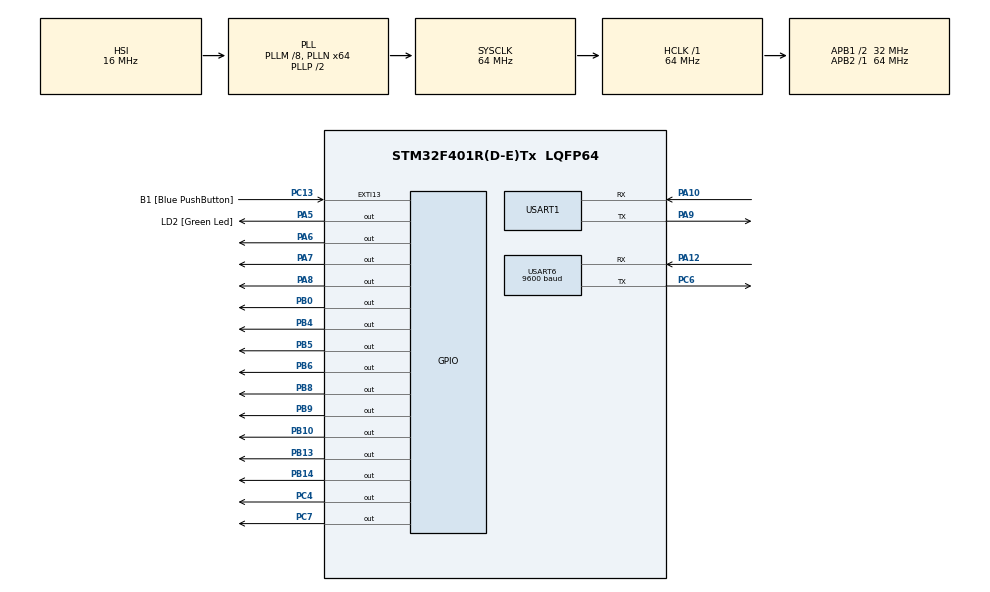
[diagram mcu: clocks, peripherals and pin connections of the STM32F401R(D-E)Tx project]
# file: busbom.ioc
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Mcu.Family=STM32F4
Mcu.Name=STM32F401R(D-E)Tx
Mcu.Package=LQFP64
NVIC.PriorityGroup=NVIC_PRIORITYGROUP_4
NVIC.TIM1_UP_TIM10_IRQn=true\:1\:0\:true\:false\:true\:true\:true\:true
NVIC.USART1_IRQn=true\:0\:0\:true\:false\:true\:true\:true\:true
PA10.Mode=Asynchronous
PA10.Signal=USART1_RX
PA12.Mode=Asynchronous
PA12.Signal=USART6_RX
PA13.GPIO_Label=TMS
PA13.Mode=Serial_Wire
PA13.Signal=SYS_JTMS-SWDIO
PA14.GPIO_Label=TCK
PA14.Mode=Serial_Wire
PA14.Signal=SYS_JTCK-SWCLK
PA5.GPIO_Label=LD2 [Green Led]
PA5.GPIO_Mode=GPIO_MODE_OUTPUT_PP
PA5.GPIO_PuPd=GPIO_NOPULL
PA5.GPIO_Speed=GPIO_SPEED_FREQ_LOW
PA5.Signal=GPIO_Output
PA6.Signal=GPIO_Output
PA7.Signal=GPIO_Output
PA8.Signal=GPIO_Output
PA9.Mode=Asynchronous
PA9.Signal=USART1_TX
PB0.Signal=GPIO_Output
PB10.Signal=GPIO_Output
PB13.Signal=GPIO_Output
PB14.Signal=GPIO_Output
PB3.GPIO_Label=SWO
PB3.Signal=SYS_JTDO-SWO
PB4.Signal=GPIO_Output
PB5.Signal=GPIO_Output
PB6.Signal=GPIO_Output
PB8.Signal=GPIO_Output
PB9.Signal=GPIO_Output
PC13-ANTI_TAMP.GPIO_Label=B1 [Blue PushButton]
PC13-ANTI_TAMP.GPIO_ModeDefaultEXTI=GPIO_MODE_IT_FALLING
PC13-ANTI_TAMP.GPIO_PuPd=GPIO_NOPULL
PC13-ANTI_TAMP.Signal=GPXTI13
PC14-OSC32_IN.Signal=RCC_OSC32_IN
PC15-OSC32_OUT.Signal=RCC_OSC32_OUT
PC4.Signal=GPIO_Output
PC6.Mode=Asynchronous
PC6.Signal=USART6_TX
PC7.Signal=GPIO_Output
PH0\ -\ OSC_IN.Mode=HSE-External-Oscillator
PH0\ -\ OSC_IN.Signal=RCC_OSC_IN
PH1\ -\ OSC_OUT.Mode=HSE-External-Oscillator
PH1\ -\ OSC_OUT.Signal=RCC_OSC_OUT
ProjectManager.HeapSize=0x200
ProjectManager.StackSize=0x400
ProjectManager.TargetToolchain=STM32CubeIDE
RCC.48MHZClocksFreq_Value=18285714.285714287
RCC.AHBFreq_Value=64000000
RCC.APB1CLKDivider=RCC_HCLK_DIV2
RCC.APB1Freq_Value=32000000
RCC.APB1TimFreq_Value=64000000
RCC.APB2Freq_Value=64000000
RCC.APB2TimFreq_Value=64000000
RCC.CortexFreq_Value=64000000
RCC.HCLKFreq_Value=64000000
RCC.HSE_VALUE=8000000
RCC.HSI_VALUE=16000000
RCC.LSE_VALUE=32768
RCC.PLLM=8
RCC.PLLN=64
RCC.PLLQ=7
RCC.SYSCLKFreq_VALUE=64000000
RCC.SYSCLKSource=RCC_SYSCLKSOURCE_PLLCLK
RCC.VCOOutputFreq_Value=128000000
TIM10.Channel=TIM_CHANNEL_1
TIM10.Period=9
TIM10.Prescaler=6399
USART1.VirtualMode=VM_ASYNC
USART6.BaudRate=9600
USART6.VirtualMode=VM_ASYNC
VP_TIM10_VS_ClockSourceINT.Mode=Enable_Timer
VP_TIM10_VS_no_output1.Mode=Output Compare1 No Output
board=NUCLEO-F401RE

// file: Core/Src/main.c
/* USER CODE BEGIN Header */
/**
 ******************************************************************************
 * @file           : main.c
 * @brief          : Main program body
 ******************************************************************************
 * @attention
 *
 * Copyright (c) 2025 STMicroelectronics.
 * All rights reserved.
 *
 * This software is licensed under terms that can be found in the LICENSE file
 * in the root directory of this software component.
 * If no LICENSE file comes with this software, it is provided AS-IS.
 *
 ******************************************************************************
 */
/* USER CODE END Header */
#include "main.h"
#include "tim.h"
#include "usart.h"
#include "gpio.h"

/* USER CODE BEGIN Includes */
#include <stdbool.h>
#include <string.h>
#include "bluetooth.h"
#include "parser.h"
#include "command.h"
#include "RGBmatrix.h"
#include "fontAndIcon.h"
#include "mp3.h"
/* USER CODE END Includes */

/* USER CODE BEGIN PV */
extern bool msg_from_bluetooth;
/* USER CODE END PV */

void SystemClock_Config(void);

int main(void)
{

  /* MCU Configuration--------------------------------------------------------*/

  /* Reset of all peripherals, Initializes the Flash interface and the Systick. */
  HAL_Init();

  /* Configure the system clock */
  SystemClock_Config();

  /* Initialize all configured peripherals */
  MX_GPIO_Init();
  MX_TIM10_Init();
  MX_USART6_UART_Init();
  MX_USART1_UART_Init();
  /* USER CODE BEGIN 2 */
	bluetooth_init();
	HAL_TIM_Base_Start_IT(&htim10);
  /* USER CODE END 2 */

  /* Infinite loop */
  /* USER CODE BEGIN WHILE */
	mp3_init();

	//char number[4][100] = {"1", "102", "103", "6102"};
	//mp3_bus_inform(number, 4);

	//command("ON:\n");
	draw_frame(0, 1, 1); //0, 1, 1

	//write_str_display(0, 0, 1, 0, 0, "0123456789", strlen("0123456789"));
	//write_str_display(13, 0, 1, 0, 0, "ABCDEFGHIJKLM", strlen("ABCDEFGHIJKLM"));
	//write_str_display(26, 0, 1, 0, 0, "NOPQRSTUVWXYZ", strlen("ABCDEFGHIJKLM"));

	while (1) {
		if (msg_from_bluetooth) {
			char data[100] = { '\0', };
			get_line_from_bluetooth(data);
			command(data);
		}

		/*mp3_play_track(6);
		HAL_Delay(500);
		mp3_play_track(12);
		HAL_Delay(500);
		mp3_play_track(2);
		HAL_Delay(500);
		mp3_play_track(13);
		HAL_Delay(500);
		mp3_play_track(14);
		HAL_Delay(2000);*/

    /* USER CODE END WHILE */

	}
}

void SystemClock_Config(void)
{
  RCC_OscInitTypeDef RCC_OscInitStruct = {0};
  RCC_ClkInitTypeDef RCC_ClkInitStruct = {0};

  /** Configure the main internal regulator output voltage
  */
  __HAL_RCC_PWR_CLK_ENABLE();
  __HAL_PWR_VOLTAGESCALING_CONFIG(PWR_REGULATOR_VOLTAGE_SCALE2);

  /** Initializes the RCC Oscillators according to the specified parameters
  * in the RCC_OscInitTypeDef structure.
  */
  RCC_OscInitStruct.OscillatorType = RCC_OSCILLATORTYPE_HSI;
  RCC_OscInitStruct.HSIState = RCC_HSI_ON;
  RCC_OscInitStruct.HSICalibrationValue = RCC_HSICALIBRATION_DEFAULT;
  RCC_OscInitStruct.PLL.PLLState = RCC_PLL_ON;
  RCC_OscInitStruct.PLL.PLLSource = RCC_PLLSOURCE_HSI;
  RCC_OscInitStruct.PLL.PLLM = 8;
  RCC_OscInitStruct.PLL.PLLN = 64;
  RCC_OscInitStruct.PLL.PLLP = RCC_PLLP_DIV2;
  RCC_OscInitStruct.PLL.PLLQ = 7;
  if (HAL_RCC_OscConfig(&RCC_OscInitStruct) != HAL_OK)
  {
    Error_Handler();
  }

  /** Initializes the CPU, AHB and APB buses clocks
  */
  RCC_ClkInitStruct.ClockType = RCC_CLOCKTYPE_HCLK|RCC_CLOCKTYPE_SYSCLK
                              |RCC_CLOCKTYPE_PCLK1|RCC_CLOCKTYPE_PCLK2;
  RCC_ClkInitStruct.SYSCLKSource = RCC_SYSCLKSOURCE_PLLCLK;
  RCC_ClkInitStruct.AHBCLKDivider = RCC_SYSCLK_DIV1;
  RCC_ClkInitStruct.APB1CLKDivider = RCC_HCLK_DIV2;
  RCC_ClkInitStruct.APB2CLKDivider = RCC_HCLK_DIV1;

  if (HAL_RCC_ClockConfig(&RCC_ClkInitStruct, FLASH_LATENCY_2) != HAL_OK)
  {
    Error_Handler();
  }
}

void Error_Handler(void)
{
	__disable_irq();
	while (1) {
	}
}
